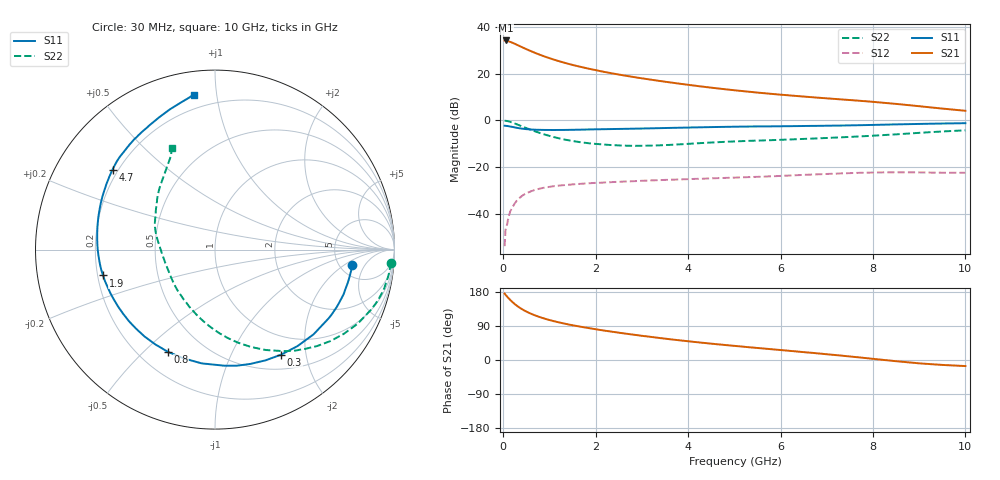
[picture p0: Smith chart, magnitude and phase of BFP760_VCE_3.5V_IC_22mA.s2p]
! Infineon Technologies  Discrete & RF Semiconductors
! BFP760
! VCE =  3.5 V,  IC =  22 mA
! Common Emitter S-Parameters:  Nov 2012
# GHz  S  MA  R  50
!  f  S11  S21  S12  S22
! GHz  MAG  ANG  MAG  ANG  MAG  ANG  MAG  ANG
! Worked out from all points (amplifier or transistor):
!   99 points, 30 MHz to 10 GHz, reference 50 ohm
!   highest |S21| = 34.3 dB at 50 MHz (marker M1)
!   |S21| within 3 dB of that: start of sweep to 419.7 MHz
!   unconditionally stable (mu >= 1): 4.587 GHz to end of sweep
!   at 350 MHz: K = 0.23, MSG = 32.6 dB, |S12| = -33.4 dB
!   at 3.5 GHz: K = 0.88, MSG = 21.1 dB, |S12| = -25.5 dB
!   at 10 GHz: K = 1.09, MAG = 11.5 dB, |S12| = -22.5 dB
!   S11 on the Smith chart (normalised r, x): 30 MHz: 6.44, -2.73; 300 MHz: 0.70, -1.58; 800 MHz: 0.32, -0.59; 1.9 GHz: 0.22, -0.11; 4.7 GHz: 0.18, +0.33; 10 GHz: 0.12, +0.86
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0.03  0.768 -6.5  51.8 175.2  0.002 80.2  0.9816 -4.3
0.04  0.7679 -8.6  51.67 174.0  0.003 78.2  0.9808 -5.7
0.05  0.7654 -10.7  51.97 171.9  0.0045 79.9  0.9793 -7.1
0.1  0.7551 -21.2  50.42 165.1  0.0072 77.6  0.9622 -14.3
0.15  0.7396 -31.3  48.55 158.6  0.0111 72.7  0.9314 -21.1
0.25  0.7073 -49.5  44.12 147.5  0.0166 66.3  0.858 -33.1
0.3  0.6916 -57.8  41.8 142.7  0.0194 63.1  0.8213 -38.3
0.4  0.6669 -72.7  37.58 134.6  0.0237 56.9  0.7477 -47.7
0.5  0.6492 -85.3  33.81 127.9  0.0272 52.4  0.6833 -55.9
0.6  0.6382 -96.7  30.62 122.1  0.0301 48.1  0.6267 -63.2
0.8  0.627 -114.8  25.49 112.9  0.0345 42.1  0.5349 -76.0
1  0.6233 -128.9  21.66 105.5  0.0375 37.8  0.4653 -87.2
1.2  0.6237 -140.2  18.74 99.4  0.0399 34.5  0.4141 -97.1
1.7  0.6338 -160.7  13.9 87.3  0.0437 30.0  0.3364 -118.2
1.9  0.6403 -167.0  12.57 83.2  0.045 28.8  0.3192 -125.9
2.6  0.6584 175.3  9.269 70.4  0.0487 26.2  0.2876 -149.6
3.4  0.6827 159.9  6.992 57.8  0.0523 24.5  0.2924 -172.5
4.7  0.7243 142.0  4.786 40.8  0.0579 22.7  0.343 164.1
5.1  0.7346 138.3  4.336 36.2  0.0597 22.3  0.3572 159.5
6.7  0.7626 125.8  3.135 18.7  0.0691 19.7  0.408 143.2
8.5  0.821 107.8  2.261 -3.2  0.077 10.6  0.502 124.5
10  0.8714 97.9  1.61 -16.0  0.0752 6.6  0.6132 113.2
